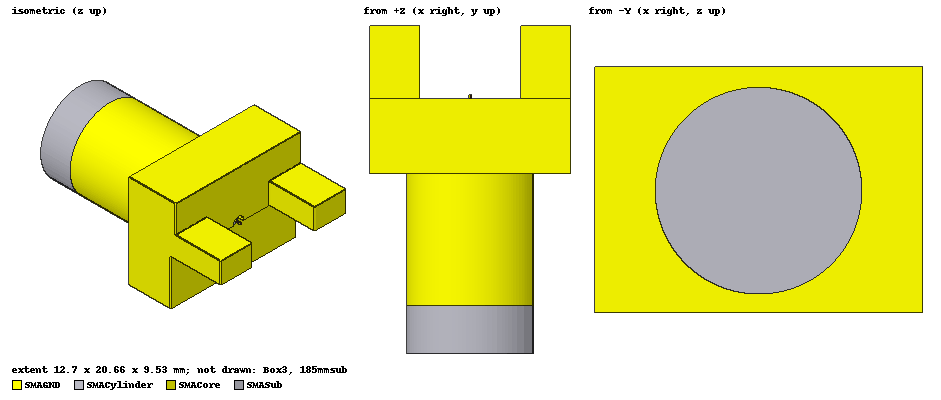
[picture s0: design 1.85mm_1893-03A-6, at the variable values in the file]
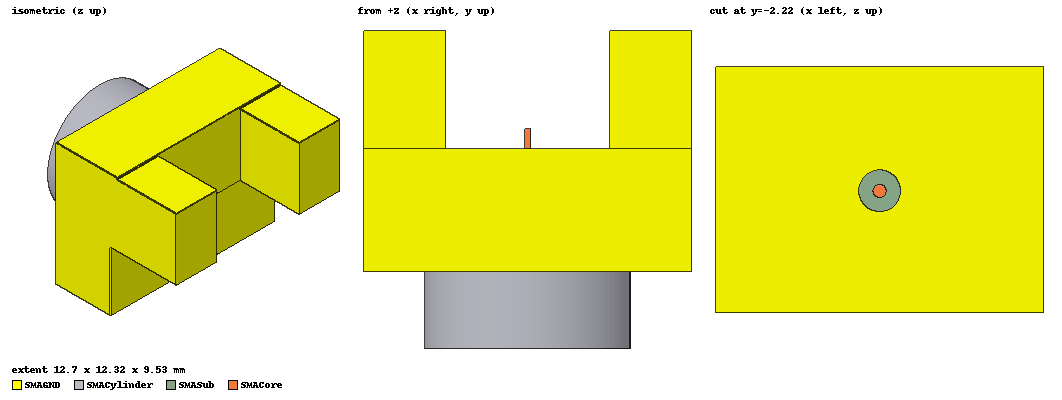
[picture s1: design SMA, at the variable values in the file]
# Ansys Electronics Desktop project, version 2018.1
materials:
  vacuum: permittivity=1
  Teflon (tm): permittivity=2.1 dielectric_loss_tangent=0.001
  brass: conductivity=15000000
  copper: permeability=0.999991 conductivity=58000000
  pec: conductivity=1e+30

design 1.85mm_1893-03A-6 (HFSS, DrivenModal, model units mm)
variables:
  SMA_length = 4.24mm
  R_core = 6mil
  R_pin = 3.5mil
  L_pin = 30mil
  R_out = 20mil
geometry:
  SMACore [copper] = cylinder(axis=Y, base_centre=(0mm, 0mm, 0mm), radius=R_core, height=-SMA_length)
  Core_1 = SMACore.copy()
  SMACore.move(0mm, -0.1mm, R_pin)
  SMAPin = cylinder(axis=Y, base_centre=(0mm, 0mm, 0mm), radius=R_pin, height=L_pin)
  SMAPin.move(0mm, -0.1mm, R_pin)
  SMACore.unite(SMAPin)
  SMASub [Teflon (tm)] = cylinder(axis=Y, base_centre=(0mm, 0mm, 0mm), radius=R_out, height=-SMA_length)
  SMASub.subtract(Core_1)
  SMASub.move(0mm, -0.1mm, R_pin)
  SMAGND [brass] = cylinder(axis=Y, base_centre=(0mm, 0mm, 0mm), radius=2.5mm, height=-SMA_length)
  SMACylinder [pec] = cylinder(axis=Y, base_centre=(0mm, -SMA_length, 0mm), radius=4mm, height=-3mm)
  SMACylinder.move(0mm, -0.1mm, R_pin)
  Box1 = box(corner=(-12.7mm/2, 0mm, 4.81mm), size=(12.7mm, -4.24mm, -9.53mm))
  Box2 = box(corner=(-12.7mm/2, 0.5mm, 4.81mm), size=(12.7mm, -4.24mm-0.5mm, -4.81mm-R_pin))
  Cylinder1 = cylinder(axis=Y, base_centre=(0mm, 0.5mm, 0mm), radius=R_out, height=-SMA_length-0.5mm)
  Box1.unite(Box2)
  SMAGND.unite(Box1)
  SMAGND.subtract(Cylinder1)
  SMAGND.move(0mm, -0.1mm, R_pin)
  Box3 [vacuum] = box(corner=(15mm, 20mm, 15mm), size=(-30mm, -40mm, -30mm))
  Box4 = box(corner=(6.35mm/2, -0.1mm, 0mm), size=(6.35mm/2, 9.32mm-4.24mm, 4.81mm-2.67mm))
  Box4_1 = Box4.duplicate_mirror(point=(0mm, 0mm, 0mm), normal=(1mm, 0mm, 0mm))
  SMAGND.unite(Box4, Box4_1)
  185mmGND = cylinder(axis=Y, base_centre=(0mm, -4.24mm, 0mm), radius=4mm, height=-8.34mm)
  185mmsub [vacuum] = cylinder(axis=Y, base_centre=(0mm, -4.24mm, 0mm), radius=1.85mm/2, height=-8.34mm)
  185mmcore = cylinder(axis=Y, base_centre=(0mm, -4.24mm, 0mm), radius=0.8mm/2, height=-8.34mm)
  185mmcore_1 = 185mmcore.copy()
  185mmsub_1 = 185mmsub.copy()
  185mmGND.subtract(185mmcore_1, 185mmsub_1)
  185mmcore_2 = 185mmcore.copy()
  185mmsub.subtract(185mmcore_2)
  port = circle(normal=Y, centre=(0mm, -4.24mm-8.34mm, 0mm), radius=1.85mm/2)
  Circle2 = circle(normal=Y, centre=(0mm, -4.24mm-8.34mm, 0mm), radius=0.4mm)
  port.subtract(Circle2)
  185mmGND.move(0mm, -0.1mm, R_pin)
  SMAGND.unite(185mmGND)
  [185mmcore, 185mmsub, port].move(0mm, -0.1mm, R_pin)
  SMACylinder.move(0mm, -8.34mm, 0mm)
  SMACore.unite(185mmcore)
  group 1_85mm = SMACore, SMASub, SMAGND, SMACylinder, 185mmsub, port
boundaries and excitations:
  Rad1: Radiation Objects=Box3
  1: Wave Port Objects=port NumModes=1 Modes{Mode1{CharImp=Zpi}}
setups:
  Setup1: HfssDriven Frequency=5GHz MaxDeltaS=0.02 MaximumPasses=20 MinimumPasses=1 MinimumConvergedPasses=1 PercentRefinement=30 BasisOrder=1 PortAccuracy=2
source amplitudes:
  1:1: 1W 0deg

design SMA (HFSS, DrivenModal, model units mm)
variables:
  SMA_length = 4.24mm
  R_core = 10mil
  R_pin = 5mil
  L_pin = 50mil
  R_out = (63.5/2) mil
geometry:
  SMACore [copper] = cylinder(axis=Y, base_centre=(0mm, 0mm, 0mm), radius=R_core, height=-SMA_length)
  Core_1 = SMACore.copy()
  SMACore.move(0mm, -0.1mm, R_pin)
  SMAPin = cylinder(axis=Y, base_centre=(0mm, 0mm, 0mm), radius=R_pin, height=L_pin)
  SMAPin.move(0mm, -0.1mm, R_pin)
  SMACore.unite(SMAPin)
  SMASub [Teflon (tm)] = cylinder(axis=Y, base_centre=(0mm, 0mm, 0mm), radius=R_out, height=-SMA_length)
  SMASub.subtract(Core_1)
  SMASub.move(0mm, -0.1mm, R_pin)
  SMAGND [brass] = cylinder(axis=Y, base_centre=(0mm, 0mm, 0mm), radius=2.5mm, height=-SMA_length)
  Box5 = box(corner=(-12.7mm/2, 0mm, 4.81mm), size=(12.7mm, -4.24mm, -9.53mm))
  Box6 = box(corner=(-12.7mm/2, 0.5mm, 4.81mm), size=(12.7mm, -4.24mm-0.5mm, -4.81mm-R_pin))
  Box5.unite(Box6)
  SMAGND.unite(Box5)
  Cylinder1 = cylinder(axis=Y, base_centre=(0mm, 0.5mm, 0mm), radius=R_out, height=-SMA_length-0.5mm)
  SMAGND.subtract(Cylinder1)
  SMAGND.move(0mm, -0.1mm, R_pin)
  Box4 = box(corner=(6.35mm/2, -0.1mm, 0mm), size=(6.35mm/2, 9.32mm-4.24mm, 4.81mm))
  Box4_1 = Box4.duplicate_mirror(point=(0mm, 0mm, 0mm), normal=(1mm, 0mm, 0mm))
  SMAGND.unite(Box4, Box4_1)
  SMACylinder [pec] = cylinder(axis=Y, base_centre=(0mm, -SMA_length, 0mm), radius=4mm, height=-3mm)
  SMACylinder.move(0mm, -0.1mm, R_pin)
  Circle1 = circle(normal=Y, centre=(0mm, -SMA_length-0.1mm, R_pin), radius=R_out)
  Circle2 = circle(normal=Y, centre=(0mm, -SMA_length-0.1mm, R_pin), radius=R_core)
  Circle1.subtract(Circle2)
  group 1_85mm = SMACore, SMASub, SMAGND, SMACylinder
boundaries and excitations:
  1: Wave Port Objects=Circle1 NumModes=1 Modes{Mode1{CharImp=Zpi}}
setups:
  Setup1: HfssDriven Frequency=5GHz MaxDeltaS=0.02 MaximumPasses=10 MinimumPasses=1 MinimumConvergedPasses=1 PercentRefinement=30 BasisOrder=1 PortAccuracy=2
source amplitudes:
  1:1: 1W 0deg
